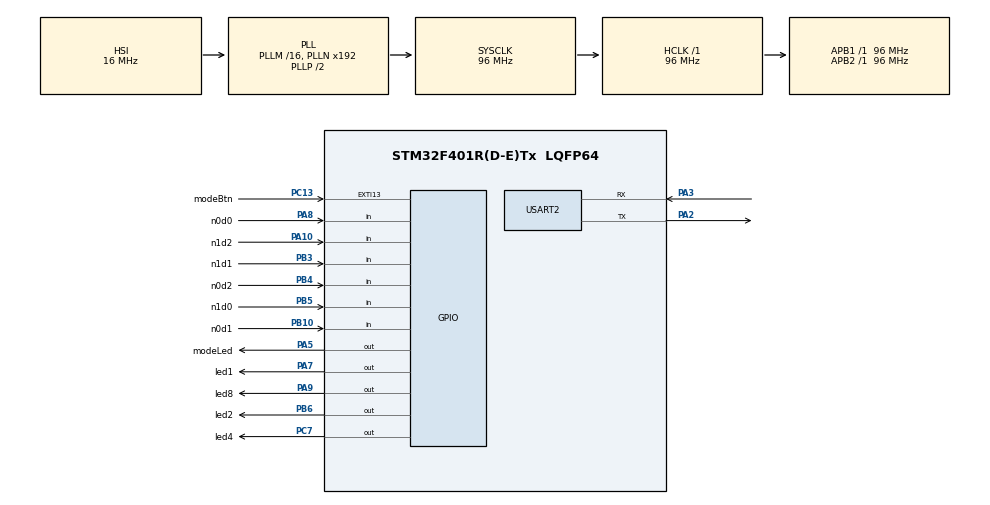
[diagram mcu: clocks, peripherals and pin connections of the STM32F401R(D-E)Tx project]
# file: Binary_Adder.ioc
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Mcu.Family=STM32F4
Mcu.Name=STM32F401R(D-E)Tx
Mcu.Package=LQFP64
NVIC.EXTI15_10_IRQn=true\:0\:0\:false\:false\:true\:true\:true
NVIC.PriorityGroup=NVIC_PRIORITYGROUP_0
NVIC.RCC_IRQn=true\:0\:0\:false\:false\:true\:true\:false
PA10.GPIO_Label=n1d2
PA10.GPIO_Mode=GPIO_MODE_INPUT
PA10.GPIO_PuPd=GPIO_PULLDOWN
PA10.Signal=GPIO_Input
PA13.Mode=Serial_Wire
PA13.Signal=SYS_JTMS-SWDIO
PA14.Mode=Serial_Wire
PA14.Signal=SYS_JTCK-SWCLK
PA2.GPIO_Mode=GPIO_MODE_AF_PP
PA2.GPIO_ModeDefaultPP=GPIO_MODE_AF_PP
PA2.GPIO_PuPd=GPIO_NOPULL
PA2.GPIO_Speed=GPIO_SPEED_FREQ_VERY_HIGH
PA2.Mode=Asynchronous
PA2.Signal=USART2_TX
PA3.GPIO_Mode=GPIO_MODE_AF_PP
PA3.GPIO_ModeDefaultPP=GPIO_MODE_AF_PP
PA3.GPIO_PuPd=GPIO_NOPULL
PA3.GPIO_Speed=GPIO_SPEED_FREQ_VERY_HIGH
PA3.Mode=Asynchronous
PA3.Signal=USART2_RX
PA5.GPIO_Label=modeLed
PA5.GPIO_ModeDefaultOutputPP=GPIO_MODE_OUTPUT_PP
PA5.GPIO_PuPd=GPIO_NOPULL
PA5.GPIO_Speed=GPIO_SPEED_FREQ_LOW
PA5.PinState=GPIO_PIN_RESET
PA5.Signal=GPIO_Output
PA7.GPIO_Label=led1
PA7.GPIO_ModeDefaultOutputPP=GPIO_MODE_OUTPUT_PP
PA7.GPIO_PuPd=GPIO_NOPULL
PA7.GPIO_Speed=GPIO_SPEED_FREQ_LOW
PA7.PinState=GPIO_PIN_RESET
PA7.Signal=GPIO_Output
PA8.GPIO_Label=n0d0
PA8.GPIO_Mode=GPIO_MODE_INPUT
PA8.GPIO_PuPd=GPIO_PULLDOWN
PA8.Signal=GPIO_Input
PA9.GPIO_Label=led8
PA9.GPIO_ModeDefaultOutputPP=GPIO_MODE_OUTPUT_PP
PA9.GPIO_PuPd=GPIO_NOPULL
PA9.GPIO_Speed=GPIO_SPEED_FREQ_LOW
PA9.PinState=GPIO_PIN_RESET
PA9.Signal=GPIO_Output
PB10.GPIO_Label=n0d1
PB10.GPIO_Mode=GPIO_MODE_INPUT
PB10.GPIO_PuPd=GPIO_PULLDOWN
PB10.Signal=GPIO_Input
PB3.GPIO_Label=n1d1
PB3.GPIO_Mode=GPIO_MODE_INPUT
PB3.GPIO_PuPd=GPIO_PULLDOWN
PB3.Signal=GPIO_Input
PB4.GPIO_Label=n0d2
PB4.GPIO_Mode=GPIO_MODE_INPUT
PB4.GPIO_PuPd=GPIO_PULLDOWN
PB4.Signal=GPIO_Input
PB5.GPIO_Label=n1d0
PB5.GPIO_Mode=GPIO_MODE_INPUT
PB5.GPIO_PuPd=GPIO_PULLDOWN
PB5.Signal=GPIO_Input
PB6.GPIO_Label=led2
PB6.GPIO_ModeDefaultOutputPP=GPIO_MODE_OUTPUT_PP
PB6.GPIO_PuPd=GPIO_NOPULL
PB6.GPIO_Speed=GPIO_SPEED_FREQ_LOW
PB6.PinState=GPIO_PIN_RESET
PB6.Signal=GPIO_Output
PC13-ANTI_TAMP.GPIO_Label=modeBtn
PC13-ANTI_TAMP.GPIO_ModeDefaultEXTI=GPIO_MODE_IT_RISING
PC13-ANTI_TAMP.GPIO_PuPd=GPIO_NOPULL
PC13-ANTI_TAMP.Signal=GPXTI13
PC14-OSC32_IN.Mode=LSE-External-Oscillator
PC14-OSC32_IN.Signal=RCC_OSC32_IN
PC15-OSC32_OUT.Mode=LSE-External-Oscillator
PC15-OSC32_OUT.Signal=RCC_OSC32_OUT
PC7.GPIO_Label=led4
PC7.GPIO_ModeDefaultOutputPP=GPIO_MODE_OUTPUT_PP
PC7.GPIO_PuPd=GPIO_NOPULL
PC7.GPIO_Speed=GPIO_SPEED_FREQ_LOW
PC7.PinState=GPIO_PIN_RESET
PC7.Signal=GPIO_Output
PH0\ -\ OSC_IN.Mode=HSE-External-Clock-Source
PH0\ -\ OSC_IN.Signal=RCC_OSC_IN
PH1\ -\ OSC_OUT.Mode=HSE-External-Clock-Source
PH1\ -\ OSC_OUT.Signal=RCC_OSC_OUT
ProjectManager.HeapSize=0x200
ProjectManager.StackSize=0x400
ProjectManager.TargetToolchain=STM32CubeIDE
RCC.AHBFreq_Value=96000000
RCC.APB1Freq_Value=96000000
RCC.APB1TimFreq_Value=96000000
RCC.APB2Freq_Value=96000000
RCC.APB2TimFreq_Value=96000000
RCC.CortexFreq_Value=96000000
RCC.HCLKFreq_Value=96000000
RCC.HSE_VALUE=25000000
RCC.HSI_VALUE=16000000
RCC.SYSCLKFreq_VALUE=96000000
RCC.SYSCLKSource=RCC_SYSCLKSOURCE_PLLCLK
RCC.VCOOutputFreq_Value=192000000
USART2.VirtualMode=VM_ASYNC
board=NUCLEO-F401RE

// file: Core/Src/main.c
/* USER CODE BEGIN Header */
/**
  ******************************************************************************
  * @file           : main.c
  * @brief          : Main program body
  ******************************************************************************
  * @attention
  *
  * <h2><center>&copy; Copyright (c) 2020 STMicroelectronics.
  * All rights reserved.</center></h2>
  *
  * This software component is licensed by ST under BSD 3-Clause license,
  * the "License"; You may not use this file except in compliance with the
  * License. You may obtain a copy of the License at:
  *                        opensource.org/licenses/BSD-3-Clause
  *
  ******************************************************************************
  */
/* USER CODE END Header */
#include "main.h"

/* USER CODE BEGIN Includes */
#include <string.h>
/* USER CODE END Includes */

UART_HandleTypeDef huart2;

/* USER CODE BEGIN PV */
int run = 1;
int dataArray[12] = {};
int readSwitchPinsFuncExecCounter = 1;
/* USER CODE END PV */

void SystemClock_Config(void);
static void MX_GPIO_Init(void);
static void MX_USART2_UART_Init(void);
/* USER CODE BEGIN PFP */
void readSwitchPins(void);
void processData(int data);
void outputData(char data[4]);
void enableAllLeds(void);
void disableAllLeds(void);
/* USER CODE END PFP */

int main(void)
{

  /* MCU Configuration--------------------------------------------------------*/

  /* Reset of all peripherals, Initializes the Flash interface and the Systick. */
  HAL_Init();

  /* Configure the system clock */
  SystemClock_Config();

  /* Initialize all configured peripherals */
  MX_GPIO_Init();
  MX_USART2_UART_Init();

  /* Infinite loop */
  while (1)
  {

    /* USER CODE BEGIN 3 */

	  // Enables green onboard led
	  HAL_GPIO_WritePin(modeLed_GPIO_Port, modeLed_Pin, GPIO_PIN_SET);

	  readSwitchPins();
	  readSwitchPins();

	  int firstNumber = (dataArray[0]*32) + (dataArray[1]*16) + (dataArray[2]*8) + (dataArray[3]*4) + (dataArray[4]*2) + (dataArray[5]*1);
	  int secondNumber = (dataArray[6]*32) + (dataArray[7]*16) + (dataArray[8]*8) + (dataArray[9]*4) + (dataArray[10]*2) + (dataArray[11]*1);
	  int total = firstNumber + secondNumber;

	  processData(total);

	  disableAllLeds();
	  HAL_Delay(400);

	  // Some cool LED animation :)
	  for (int i=0; i < 4; i++) {
		  switch (i) {
		  case 0:
			  HAL_GPIO_WritePin(led8_GPIO_Port, led8_Pin, GPIO_PIN_SET);
			  HAL_Delay(200);
			  break;
		  case 1:
			  HAL_GPIO_WritePin(led8_GPIO_Port, led8_Pin, GPIO_PIN_RESET);
			  HAL_GPIO_WritePin(led4_GPIO_Port, led4_Pin, GPIO_PIN_SET);
			  HAL_Delay(200);
			  break;
		  case 2:
			  HAL_GPIO_WritePin(led4_GPIO_Port, led4_Pin, GPIO_PIN_RESET);
			  HAL_GPIO_WritePin(led2_GPIO_Port, led2_Pin, GPIO_PIN_SET);
			  HAL_Delay(200);
			  break;
		  case 3:
			  HAL_GPIO_WritePin(led2_GPIO_Port, led2_Pin, GPIO_PIN_RESET);
			  HAL_GPIO_WritePin(led1_GPIO_Port, led1_Pin, GPIO_PIN_SET);
			  HAL_Delay(200);
			  break;
		  }
	  }

	  enableAllLeds();
	  HAL_Delay(400);
	  disableAllLeds();
  }
  /* USER CODE END 3 */
}

void SystemClock_Config(void)
{
  RCC_OscInitTypeDef RCC_OscInitStruct = {0};
  RCC_ClkInitTypeDef RCC_ClkInitStruct = {0};

  /** Configure the main internal regulator output voltage
  */
  __HAL_RCC_PWR_CLK_ENABLE();
  __HAL_PWR_VOLTAGESCALING_CONFIG(PWR_REGULATOR_VOLTAGE_SCALE2);
  /** Initializes the RCC Oscillators according to the specified parameters
  * in the RCC_OscInitTypeDef structure.
  */
  RCC_OscInitStruct.OscillatorType = RCC_OSCILLATORTYPE_HSI;
  RCC_OscInitStruct.HSIState = RCC_HSI_ON;
  RCC_OscInitStruct.HSICalibrationValue = RCC_HSICALIBRATION_DEFAULT;
  RCC_OscInitStruct.PLL.PLLState = RCC_PLL_ON;
  RCC_OscInitStruct.PLL.PLLSource = RCC_PLLSOURCE_HSI;
  RCC_OscInitStruct.PLL.PLLM = 16;
  RCC_OscInitStruct.PLL.PLLN = 192;
  RCC_OscInitStruct.PLL.PLLP = RCC_PLLP_DIV2;
  RCC_OscInitStruct.PLL.PLLQ = 4;
  if (HAL_RCC_OscConfig(&RCC_OscInitStruct) != HAL_OK)
  {
    Error_Handler();
  }
  /** Initializes the CPU, AHB and APB buses clocks
  */
  RCC_ClkInitStruct.ClockType = RCC_CLOCKTYPE_HCLK|RCC_CLOCKTYPE_SYSCLK
                              |RCC_CLOCKTYPE_PCLK1|RCC_CLOCKTYPE_PCLK2;
  RCC_ClkInitStruct.SYSCLKSource = RCC_SYSCLKSOURCE_PLLCLK;
  RCC_ClkInitStruct.AHBCLKDivider = RCC_SYSCLK_DIV1;
  RCC_ClkInitStruct.APB1CLKDivider = RCC_HCLK_DIV1;
  RCC_ClkInitStruct.APB2CLKDivider = RCC_HCLK_DIV1;

  if (HAL_RCC_ClockConfig(&RCC_ClkInitStruct, FLASH_LATENCY_2) != HAL_OK)
  {
    Error_Handler();
  }
}

static void MX_USART2_UART_Init(void)
{

  huart2.Instance = USART2;
  huart2.Init.BaudRate = 115200;
  huart2.Init.WordLength = UART_WORDLENGTH_8B;
  huart2.Init.StopBits = UART_STOPBITS_1;
  huart2.Init.Parity = UART_PARITY_NONE;
  huart2.Init.Mode = UART_MODE_TX_RX;
  huart2.Init.HwFlowCtl = UART_HWCONTROL_NONE;
  huart2.Init.OverSampling = UART_OVERSAMPLING_16;
  if (HAL_UART_Init(&huart2) != HAL_OK)
  {
    Error_Handler();
  }

}

static void MX_GPIO_Init(void)
{
  GPIO_InitTypeDef GPIO_InitStruct = {0};

  /* GPIO Ports Clock Enable */
  __HAL_RCC_GPIOC_CLK_ENABLE();
  __HAL_RCC_GPIOH_CLK_ENABLE();
  __HAL_RCC_GPIOA_CLK_ENABLE();
  __HAL_RCC_GPIOB_CLK_ENABLE();

  /*Configure GPIO pin Output Level */
  HAL_GPIO_WritePin(GPIOA, modeLed_Pin|led1_Pin|led8_Pin, GPIO_PIN_RESET);

  /*Configure GPIO pin Output Level */
  HAL_GPIO_WritePin(led4_GPIO_Port, led4_Pin, GPIO_PIN_RESET);

  /*Configure GPIO pin Output Level */
  HAL_GPIO_WritePin(led2_GPIO_Port, led2_Pin, GPIO_PIN_RESET);

  /*Configure GPIO pin : modeBtn_Pin */
  GPIO_InitStruct.Pin = modeBtn_Pin;
  GPIO_InitStruct.Mode = GPIO_MODE_IT_RISING;
  GPIO_InitStruct.Pull = GPIO_NOPULL;
  HAL_GPIO_Init(modeBtn_GPIO_Port, &GPIO_InitStruct);

  /*Configure GPIO pins : modeLed_Pin led1_Pin led8_Pin */
  GPIO_InitStruct.Pin = modeLed_Pin|led1_Pin|led8_Pin;
  GPIO_InitStruct.Mode = GPIO_MODE_OUTPUT_PP;
  GPIO_InitStruct.Pull = GPIO_NOPULL;
  GPIO_InitStruct.Speed = GPIO_SPEED_FREQ_LOW;
  HAL_GPIO_Init(GPIOA, &GPIO_InitStruct);

  /*Configure GPIO pins : n0d1_Pin n1d1_Pin n0d2_Pin n1d0_Pin */
  GPIO_InitStruct.Pin = n0d1_Pin|n1d1_Pin|n0d2_Pin|n1d0_Pin;
  GPIO_InitStruct.Mode = GPIO_MODE_INPUT;
  GPIO_InitStruct.Pull = GPIO_PULLDOWN;
  HAL_GPIO_Init(GPIOB, &GPIO_InitStruct);

  /*Configure GPIO pin : led4_Pin */
  GPIO_InitStruct.Pin = led4_Pin;
  GPIO_InitStruct.Mode = GPIO_MODE_OUTPUT_PP;
  GPIO_InitStruct.Pull = GPIO_NOPULL;
  GPIO_InitStruct.Speed = GPIO_SPEED_FREQ_LOW;
  HAL_GPIO_Init(led4_GPIO_Port, &GPIO_InitStruct);

  /*Configure GPIO pins : n0d0_Pin n1d2_Pin */
  GPIO_InitStruct.Pin = n0d0_Pin|n1d2_Pin;
  GPIO_InitStruct.Mode = GPIO_MODE_INPUT;
  GPIO_InitStruct.Pull = GPIO_PULLDOWN;
  HAL_GPIO_Init(GPIOA, &GPIO_InitStruct);

  /*Configure GPIO pin : led2_Pin */
  GPIO_InitStruct.Pin = led2_Pin;
  GPIO_InitStruct.Mode = GPIO_MODE_OUTPUT_PP;
  GPIO_InitStruct.Pull = GPIO_NOPULL;
  GPIO_InitStruct.Speed = GPIO_SPEED_FREQ_LOW;
  HAL_GPIO_Init(led2_GPIO_Port, &GPIO_InitStruct);

  /* EXTI interrupt init*/
  HAL_NVIC_SetPriority(EXTI15_10_IRQn, 0, 0);
  HAL_NVIC_EnableIRQ(EXTI15_10_IRQn);

}

/* USER CODE BEGIN 4 */

void readSwitchPins(void) {
	extern int dataArray[];
	extern int readSwitchPinsFuncExecCounter;

	// Do while blue button is not pressed
	if (readSwitchPinsFuncExecCounter == 1) {
		while (run == 1) {
			// Reads all input pins for first number
			dataArray[0] = HAL_GPIO_ReadPin(n1d2_GPIO_Port, n1d2_Pin);
			dataArray[1] = HAL_GPIO_ReadPin(n1d1_GPIO_Port, n1d1_Pin);
			dataArray[2] = HAL_GPIO_ReadPin(n1d0_GPIO_Port, n1d0_Pin);
			dataArray[3] = HAL_GPIO_ReadPin(n0d2_GPIO_Port, n0d2_Pin);
			dataArray[4] = HAL_GPIO_ReadPin(n0d1_GPIO_Port, n0d1_Pin);
			dataArray[5] = HAL_GPIO_ReadPin(n0d0_GPIO_Port, n0d0_Pin);
		}
		readSwitchPinsFuncExecCounter = 2;
	}
	else if (readSwitchPinsFuncExecCounter == 2) {
		while (run == 1) {
			// Reads all input pins for second number
			dataArray[6] = HAL_GPIO_ReadPin(n1d2_GPIO_Port, n1d2_Pin);
			dataArray[7] = HAL_GPIO_ReadPin(n1d1_GPIO_Port, n1d1_Pin);
			dataArray[8] = HAL_GPIO_ReadPin(n1d0_GPIO_Port, n1d0_Pin);
			dataArray[9] = HAL_GPIO_ReadPin(n0d2_GPIO_Port, n0d2_Pin);
			dataArray[10] = HAL_GPIO_ReadPin(n0d1_GPIO_Port, n0d1_Pin);
			dataArray[11] = HAL_GPIO_ReadPin(n0d0_GPIO_Port, n0d0_Pin);

			// Blinks green onboard led
			HAL_GPIO_TogglePin(modeLed_GPIO_Port, modeLed_Pin);
			HAL_Delay(100);
		}
		readSwitchPinsFuncExecCounter = 1;

		// Disables green onboard led
		HAL_GPIO_WritePin(modeLed_GPIO_Port, modeLed_Pin, GPIO_PIN_RESET);
	}
	run = 1;
}

void processData(int data) {
	int outputArray[8] = {0, 0, 0, 0, 0, 0, 0, 0};

	// Converts decimal number to binary
	for (int i=0; data > 0; i++) {
		outputArray[i] = data % 2;
		data = data / 2;
	}

	{
		int startPos = 7;
		int endPos = 4;
		char halfOfOutputArray[4] = {};
		char tmp[1];

		// Processes first part of binary number and sends it to output
		for (; startPos >= endPos; startPos--) {
			strcat(halfOfOutputArray, itoa(outputArray[startPos], tmp, 10));
		}
		outputData(halfOfOutputArray);
	}

	HAL_Delay(3000);

	{
		int startPos = 3;
		int endPos = 0;
		char halfOfOutputArray[4] = {};
		char tmp[1];

		// Processes second part of binary number and send it to output
		for (; startPos >= endPos; startPos--) {
			strcat(halfOfOutputArray, itoa(outputArray[startPos], tmp, 10));
		}
		outputData(halfOfOutputArray);
	}

	HAL_Delay(3000);
}

void outputData(char data[4]) {
	if (strcmp(data, "0000") == 0) {
		HAL_GPIO_WritePin(led8_GPIO_Port, led8_Pin, GPIO_PIN_RESET);
		HAL_GPIO_WritePin(led4_GPIO_Port, led4_Pin, GPIO_PIN_RESET);
		HAL_GPIO_WritePin(led2_GPIO_Port, led2_Pin, GPIO_PIN_RESET);
		HAL_GPIO_WritePin(led1_GPIO_Port, led1_Pin, GPIO_PIN_RESET);
	}
	else if (strcmp(data, "0001") == 0) {
		HAL_GPIO_WritePin(led8_GPIO_Port, led8_Pin, GPIO_PIN_RESET);
		HAL_GPIO_WritePin(led4_GPIO_Port, led4_Pin, GPIO_PIN_RESET);
		HAL_GPIO_WritePin(led2_GPIO_Port, led2_Pin, GPIO_PIN_RESET);
		HAL_GPIO_WritePin(led1_GPIO_Port, led1_Pin, GPIO_PIN_SET);
	}
	else if (strcmp(data, "0010") == 0) {
		HAL_GPIO_WritePin(led8_GPIO_Port, led8_Pin, GPIO_PIN_RESET);
		HAL_GPIO_WritePin(led4_GPIO_Port, led4_Pin, GPIO_PIN_RESET);
		HAL_GPIO_WritePin(led2_GPIO_Port, led2_Pin, GPIO_PIN_SET);
		HAL_GPIO_WritePin(led1_GPIO_Port, led1_Pin, GPIO_PIN_RESET);
	}
	else if (strcmp(data, "0011") == 0) {
		HAL_GPIO_WritePin(led8_GPIO_Port, led8_Pin, GPIO_PIN_RESET);
		HAL_GPIO_WritePin(led4_GPIO_Port, led4_Pin, GPIO_PIN_RESET);
		HAL_GPIO_WritePin(led2_GPIO_Port, led2_Pin, GPIO_PIN_SET);
		HAL_GPIO_WritePin(led1_GPIO_Port, led1_Pin, GPIO_PIN_SET);
	}
	else if (strcmp(data, "0100") == 0) {
		HAL_GPIO_WritePin(led8_GPIO_Port, led8_Pin, GPIO_PIN_RESET);
		HAL_GPIO_WritePin(led4_GPIO_Port, led4_Pin, GPIO_PIN_SET);
		HAL_GPIO_WritePin(led2_GPIO_Port, led2_Pin, GPIO_PIN_RESET);
		HAL_GPIO_WritePin(led1_GPIO_Port, led1_Pin, GPIO_PIN_RESET);
	}
	else if (strcmp(data, "0101") == 0) {
		HAL_GPIO_WritePin(led8_GPIO_Port, led8_Pin, GPIO_PIN_RESET);
		HAL_GPIO_WritePin(led4_GPIO_Port, led4_Pin, GPIO_PIN_SET);
		HAL_GPIO_WritePin(led2_GPIO_Port, led2_Pin, GPIO_PIN_RESET);
		HAL_GPIO_WritePin(led1_GPIO_Port, led1_Pin, GPIO_PIN_SET);
	}
	else if (strcmp(data, "0110") == 0) {
		HAL_GPIO_WritePin(led8_GPIO_Port, led8_Pin, GPIO_PIN_RESET);
		HAL_GPIO_WritePin(led4_GPIO_Port, led4_Pin, GPIO_PIN_SET);
		HAL_GPIO_WritePin(led2_GPIO_Port, led2_Pin, GPIO_PIN_SET);
		HAL_GPIO_WritePin(led1_GPIO_Port, led1_Pin, GPIO_PIN_RESET);
	}
	else if (strcmp(data, "0111") == 0) {
		HAL_GPIO_WritePin(led8_GPIO_Port, led8_Pin, GPIO_PIN_RESET);
		HAL_GPIO_WritePin(led4_GPIO_Port, led4_Pin, GPIO_PIN_SET);
		HAL_GPIO_WritePin(led2_GPIO_Port, led2_Pin, GPIO_PIN_SET);
		HAL_GPIO_WritePin(led1_GPIO_Port, led1_Pin, GPIO_PIN_SET);
	}
	else if (strcmp(data, "1000") == 0) {
		HAL_GPIO_WritePin(led8_GPIO_Port, led8_Pin, GPIO_PIN_SET);
		HAL_GPIO_WritePin(led4_GPIO_Port, led4_Pin, GPIO_PIN_RESET);
		HAL_GPIO_WritePin(led2_GPIO_Port, led2_Pin, GPIO_PIN_RESET);
		HAL_GPIO_WritePin(led1_GPIO_Port, led1_Pin, GPIO_PIN_RESET);
	}
	else if (strcmp(data, "1001") == 0) {
		HAL_GPIO_WritePin(led8_GPIO_Port, led8_Pin, GPIO_PIN_SET);
		HAL_GPIO_WritePin(led4_GPIO_Port, led4_Pin, GPIO_PIN_RESET);
		HAL_GPIO_WritePin(led2_GPIO_Port, led2_Pin, GPIO_PIN_RESET);
		HAL_GPIO_WritePin(led1_GPIO_Port, led1_Pin, GPIO_PIN_SET);
	}
	else if (strcmp(data, "1010") == 0) {
		HAL_GPIO_WritePin(led8_GPIO_Port, led8_Pin, GPIO_PIN_SET);
		HAL_GPIO_WritePin(led4_GPIO_Port, led4_Pin, GPIO_PIN_RESET);
		HAL_GPIO_WritePin(led2_GPIO_Port, led2_Pin, GPIO_PIN_SET);
		HAL_GPIO_WritePin(led1_GPIO_Port, led1_Pin, GPIO_PIN_RESET);
	}
	else if (strcmp(data, "1011") == 0) {
		HAL_GPIO_WritePin(led8_GPIO_Port, led8_Pin, GPIO_PIN_SET);
		HAL_GPIO_WritePin(led4_GPIO_Port, led4_Pin, GPIO_PIN_RESET);
		HAL_GPIO_WritePin(led2_GPIO_Port, led2_Pin, GPIO_PIN_SET);
		HAL_GPIO_WritePin(led1_GPIO_Port, led1_Pin, GPIO_PIN_SET);
	}
	else if (strcmp(data, "1100") == 0) {
		HAL_GPIO_WritePin(led8_GPIO_Port, led8_Pin, GPIO_PIN_SET);
		HAL_GPIO_WritePin(led4_GPIO_Port, led4_Pin, GPIO_PIN_SET);
		HAL_GPIO_WritePin(led2_GPIO_Port, led2_Pin, GPIO_PIN_RESET);
		HAL_GPIO_WritePin(led1_GPIO_Port, led1_Pin, GPIO_PIN_RESET);
	}
	else if (strcmp(data, "1101") == 0) {
		HAL_GPIO_WritePin(led8_GPIO_Port, led8_Pin, GPIO_PIN_SET);
		HAL_GPIO_WritePin(led4_GPIO_Port, led4_Pin, GPIO_PIN_SET);
		HAL_GPIO_WritePin(led2_GPIO_Port, led2_Pin, GPIO_PIN_RESET);
		HAL_GPIO_WritePin(led1_GPIO_Port, led1_Pin, GPIO_PIN_SET);
	}
	else if (strcmp(data, "1110") == 0) {
		HAL_GPIO_WritePin(led8_GPIO_Port, led8_Pin, GPIO_PIN_SET);
		HAL_GPIO_WritePin(led4_GPIO_Port, led4_Pin, GPIO_PIN_SET);
		HAL_GPIO_WritePin(led2_GPIO_Port, led2_Pin, GPIO_PIN_SET);
		HAL_GPIO_WritePin(led1_GPIO_Port, led1_Pin, GPIO_PIN_RESET);
	}
	else if (strcmp(data, "1111") == 0) {
		HAL_GPIO_WritePin(led8_GPIO_Port, led8_Pin, GPIO_PIN_SET);
		HAL_GPIO_WritePin(led4_GPIO_Port, led4_Pin, GPIO_PIN_SET);
		HAL_GPIO_WritePin(led2_GPIO_Port, led2_Pin, GPIO_PIN_SET);
		HAL_GPIO_WritePin(led1_GPIO_Port, led1_Pin, GPIO_PIN_SET);
	}
}

void enableAllLeds(void) {
	HAL_GPIO_WritePin(led8_GPIO_Port, led8_Pin, GPIO_PIN_SET);
	HAL_GPIO_WritePin(led4_GPIO_Port, led4_Pin, GPIO_PIN_SET);
	HAL_GPIO_WritePin(led2_GPIO_Port, led2_Pin, GPIO_PIN_SET);
	HAL_GPIO_WritePin(led1_GPIO_Port, led1_Pin, GPIO_PIN_SET);
}

void disableAllLeds(void) {
	HAL_GPIO_WritePin(led8_GPIO_Port, led8_Pin, GPIO_PIN_RESET);
	HAL_GPIO_WritePin(led4_GPIO_Port, led4_Pin, GPIO_PIN_RESET);
	HAL_GPIO_WritePin(led2_GPIO_Port, led2_Pin, GPIO_PIN_RESET);
	HAL_GPIO_WritePin(led1_GPIO_Port, led1_Pin, GPIO_PIN_RESET);
}

/* USER CODE END 4 */

void Error_Handler(void)
{
}

/************************ (C) COPYRIGHT STMicroelectronics *****END OF FILE****/
